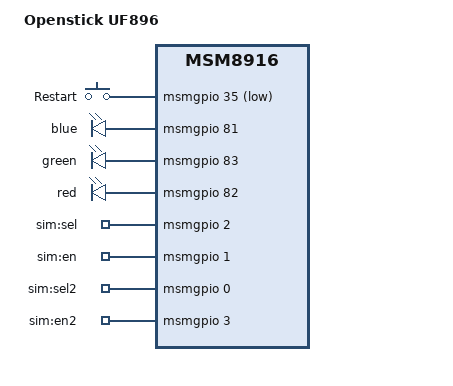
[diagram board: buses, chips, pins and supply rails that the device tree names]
// SPDX-License-Identifier: GPL-2.0-only
/*
 * Copyright (C) 2021-2022 Dirk Buchwalder <buchwalder@posteo.de>
 *
 */
 
/dts-v1/;
#include "msm8916-handsome-openstick-common.dtsi"

/ {
	model = "Openstick UF896";
	compatible = "openstick,uf896", "qcom,msm8916";
    aliases {
        led-boot = &red;
		led-failsafe = &red;
		led-running = &green;
		led-upgrade = &red;
    };

	gpio-keys {
		compatible = "gpio-keys";
		#address-cells = <1>;
		#size-cells = <0>;
		autorepeat;

		pinctrl-names = "default";
		pinctrl-0 = <&gpio_keys_default>;
		label = "GPIO Buttons";

		reset {
			label = "Restart";
			gpios = <&msmgpio 35 GPIO_ACTIVE_LOW>;
			linux,code = <KEY_RESTART>;
		};
	};

	leds {
		pinctrl-names = "default";
		pinctrl-0 = <&msmgpio_leds>;

		compatible = "gpio-leds";

		blue: blue {
			label = "blue";
			gpios = <&msmgpio 81 GPIO_ACTIVE_HIGH>;
			linux,default-trigger = "phy0tx";
			default-state = "off";
		};

		green: green {
			label = "green";
			gpios = <&msmgpio 83 GPIO_ACTIVE_HIGH>;
			default-state = "off";
		};

		red: red {
			label = "red";
			gpios = <&msmgpio 82 GPIO_ACTIVE_HIGH>;
			default-state = "on";
		};

		sim_sel {
			label = "sim:sel";
			gpios = <&msmgpio 2 GPIO_ACTIVE_HIGH>;
			default-state = "on";
		};

		sim_en {
			label = "sim:en";
			gpios = <&msmgpio 1 GPIO_ACTIVE_HIGH>;
			default-state = "off";
		};

		sim_sel2 {
			label = "sim:sel2";
			gpios = <&msmgpio 0 GPIO_ACTIVE_HIGH>;
			default-state = "off";
		};

		sim_en2 {
			label = "sim:en2";
			gpios = <&msmgpio 3 GPIO_ACTIVE_HIGH>;
			default-state = "off";
		};


	};
};

&msmgpio {
	msmgpio_leds: msmgpio-leds {
		pins = "gpio0","gpio1","gpio2","gpio3","gpio20","gpio21","gpio22","gpio81","gpio82","gpio83";
		function = "gpio";

		bias-disabled;
	};

	gpio_keys_default: gpio_keys_default {
		pins = "gpio35";
		function = "gpio";

		drive-strength = <8>;
		input-enable;
		bias-pull-up;
	};
};
